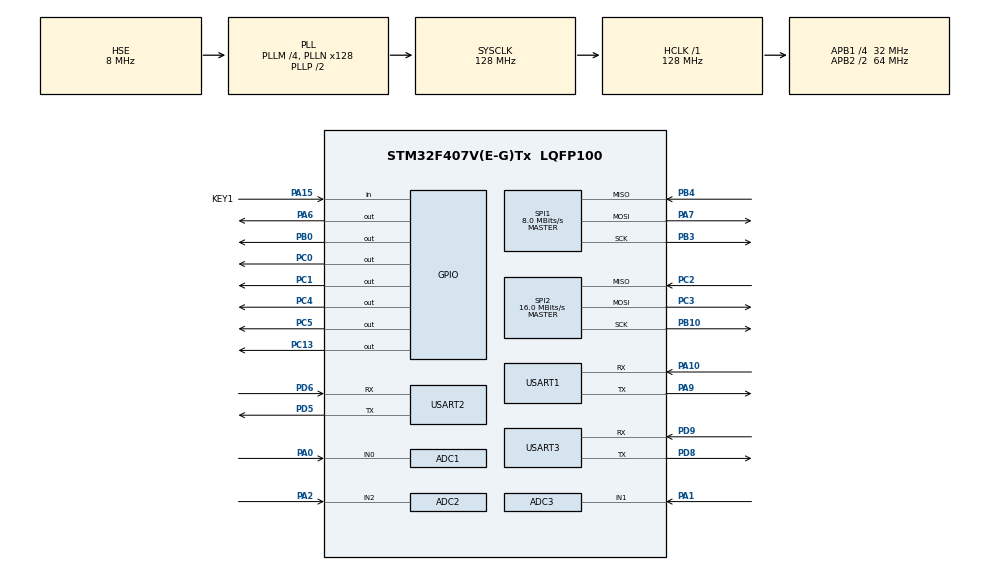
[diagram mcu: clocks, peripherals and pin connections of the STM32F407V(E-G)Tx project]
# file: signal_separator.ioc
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ADC1.Channel-0\#ChannelRegularConversion=ADC_CHANNEL_0
ADC1.ExternalTrigConv=ADC_EXTERNALTRIGCONV_T1_CC1
ADC1.NbrOfConversionFlag=1
ADC1.Rank-0\#ChannelRegularConversion=1
ADC1.SamplingTime-0\#ChannelRegularConversion=ADC_SAMPLETIME_3CYCLES
ADC1.master=1
ADC2.Channel-1\#ChannelRegularConversion=ADC_CHANNEL_2
ADC2.ExternalTrigConv=ADC_EXTERNALTRIGCONV_T1_CC1
ADC2.NbrOfConversionFlag=1
ADC2.Rank-1\#ChannelRegularConversion=1
ADC2.SamplingTime-1\#ChannelRegularConversion=ADC_SAMPLETIME_3CYCLES
ADC3.Channel-0\#ChannelRegularConversion=ADC_CHANNEL_1
ADC3.ExternalTrigConv=ADC_EXTERNALTRIGCONV_T1_CC1
ADC3.NbrOfConversionFlag=1
ADC3.Rank-0\#ChannelRegularConversion=1
ADC3.SamplingTime-0\#ChannelRegularConversion=ADC_SAMPLETIME_3CYCLES
Dma.ADC1.0.Direction=DMA_PERIPH_TO_MEMORY
Dma.ADC1.0.FIFOMode=DMA_FIFOMODE_DISABLE
Dma.ADC1.0.Instance=DMA2_Stream0
Dma.ADC1.0.MemDataAlignment=DMA_MDATAALIGN_HALFWORD
Dma.ADC1.0.MemInc=DMA_MINC_ENABLE
Dma.ADC1.0.Mode=DMA_NORMAL
Dma.ADC1.0.PeriphDataAlignment=DMA_PDATAALIGN_HALFWORD
Dma.ADC1.0.PeriphInc=DMA_PINC_DISABLE
Dma.ADC1.0.Priority=DMA_PRIORITY_LOW
Dma.ADC2.2.Direction=DMA_PERIPH_TO_MEMORY
Dma.ADC2.2.FIFOMode=DMA_FIFOMODE_DISABLE
Dma.ADC2.2.Instance=DMA2_Stream2
Dma.ADC2.2.MemDataAlignment=DMA_MDATAALIGN_HALFWORD
Dma.ADC2.2.MemInc=DMA_MINC_ENABLE
Dma.ADC2.2.Mode=DMA_NORMAL
Dma.ADC2.2.PeriphDataAlignment=DMA_PDATAALIGN_HALFWORD
Dma.ADC2.2.PeriphInc=DMA_PINC_DISABLE
Dma.ADC2.2.Priority=DMA_PRIORITY_LOW
Dma.ADC3.1.Direction=DMA_PERIPH_TO_MEMORY
Dma.ADC3.1.FIFOMode=DMA_FIFOMODE_DISABLE
Dma.ADC3.1.Instance=DMA2_Stream1
Dma.ADC3.1.MemDataAlignment=DMA_MDATAALIGN_HALFWORD
Dma.ADC3.1.MemInc=DMA_MINC_ENABLE
Dma.ADC3.1.Mode=DMA_NORMAL
Dma.ADC3.1.PeriphDataAlignment=DMA_PDATAALIGN_HALFWORD
Dma.ADC3.1.PeriphInc=DMA_PINC_DISABLE
Dma.ADC3.1.Priority=DMA_PRIORITY_LOW
Dma.Request0=ADC1
Dma.Request1=ADC3
Dma.Request2=ADC2
Dma.Request3=USART3_RX
Dma.Request4=USART2_RX
Dma.USART2_RX.4.Direction=DMA_PERIPH_TO_MEMORY
Dma.USART2_RX.4.FIFOMode=DMA_FIFOMODE_DISABLE
Dma.USART2_RX.4.Instance=DMA1_Stream5
Dma.USART2_RX.4.MemDataAlignment=DMA_MDATAALIGN_BYTE
Dma.USART2_RX.4.MemInc=DMA_MINC_ENABLE
Dma.USART2_RX.4.Mode=DMA_NORMAL
Dma.USART2_RX.4.PeriphDataAlignment=DMA_PDATAALIGN_BYTE
Dma.USART2_RX.4.PeriphInc=DMA_PINC_DISABLE
Dma.USART2_RX.4.Priority=DMA_PRIORITY_LOW
Dma.USART3_RX.3.Direction=DMA_PERIPH_TO_MEMORY
Dma.USART3_RX.3.FIFOMode=DMA_FIFOMODE_DISABLE
Dma.USART3_RX.3.Instance=DMA1_Stream1
Dma.USART3_RX.3.MemDataAlignment=DMA_MDATAALIGN_BYTE
Dma.USART3_RX.3.MemInc=DMA_MINC_ENABLE
Dma.USART3_RX.3.Mode=DMA_NORMAL
Dma.USART3_RX.3.PeriphDataAlignment=DMA_PDATAALIGN_BYTE
Dma.USART3_RX.3.PeriphInc=DMA_PINC_DISABLE
Dma.USART3_RX.3.Priority=DMA_PRIORITY_LOW
Mcu.Family=STM32F4
Mcu.Name=STM32F407V(E-G)Tx
Mcu.Package=LQFP100
NVIC.DMA1_Stream1_IRQn=true\:0\:0\:false\:false\:true\:false\:true\:true
NVIC.DMA1_Stream5_IRQn=true\:0\:0\:false\:false\:true\:false\:true\:true
NVIC.DMA2_Stream0_IRQn=true\:0\:0\:false\:false\:true\:false\:true\:true
NVIC.DMA2_Stream1_IRQn=true\:0\:0\:false\:false\:true\:false\:true\:true
NVIC.DMA2_Stream2_IRQn=true\:0\:0\:false\:false\:true\:false\:true\:true
NVIC.PriorityGroup=NVIC_PRIORITYGROUP_4
NVIC.USART2_IRQn=true\:0\:0\:false\:false\:true\:true\:true\:true
NVIC.USART3_IRQn=true\:0\:0\:false\:false\:true\:true\:true\:true
PA0-WKUP.Signal=ADCx_IN0
PA1.Signal=ADCx_IN1
PA10.Mode=Asynchronous
PA10.Signal=USART1_RX
PA13.Mode=Serial_Wire
PA13.Signal=SYS_JTMS-SWDIO
PA14.Mode=Serial_Wire
PA14.Signal=SYS_JTCK-SWCLK
PA15.GPIO_Label=KEY1
PA15.GPIO_PuPd=GPIO_PULLUP
PA15.Signal=GPIO_Input
PA2.Signal=ADCx_IN2
PA6.Signal=GPIO_Output
PA7.Mode=Full_Duplex_Master
PA7.Signal=SPI1_MOSI
PA9.Mode=Asynchronous
PA9.Signal=USART1_TX
PB0.Signal=GPIO_Output
PB10.Mode=Full_Duplex_Master
PB10.Signal=SPI2_SCK
PB3.Mode=Full_Duplex_Master
PB3.Signal=SPI1_SCK
PB4.Mode=Full_Duplex_Master
PB4.Signal=SPI1_MISO
PC0.Signal=GPIO_Output
PC1.Signal=GPIO_Output
PC13-ANTI_TAMP.Signal=GPIO_Output
PC2.Mode=Full_Duplex_Master
PC2.Signal=SPI2_MISO
PC3.Mode=Full_Duplex_Master
PC3.Signal=SPI2_MOSI
PC4.Signal=GPIO_Output
PC5.Signal=GPIO_Output
PD5.Mode=Asynchronous
PD5.Signal=USART2_TX
PD6.Mode=Asynchronous
PD6.Signal=USART2_RX
PD8.Mode=Asynchronous
PD8.Signal=USART3_TX
PD9.Mode=Asynchronous
PD9.Signal=USART3_RX
PH0-OSC_IN.Mode=HSE-External-Oscillator
PH0-OSC_IN.Signal=RCC_OSC_IN
PH1-OSC_OUT.Mode=HSE-External-Oscillator
PH1-OSC_OUT.Signal=RCC_OSC_OUT
ProjectManager.HeapSize=0x200
ProjectManager.StackSize=0x400
ProjectManager.TargetToolchain=MDK-ARM V5.32
RCC.48MHZClocksFreq_Value=36571428.571428575
RCC.AHBFreq_Value=128000000
RCC.APB1CLKDivider=RCC_HCLK_DIV4
RCC.APB1Freq_Value=32000000
RCC.APB1TimFreq_Value=64000000
RCC.APB2CLKDivider=RCC_HCLK_DIV2
RCC.APB2Freq_Value=64000000
RCC.APB2TimFreq_Value=128000000
RCC.CortexFreq_Value=128000000
RCC.HCLKFreq_Value=128000000
RCC.HSE_VALUE=8000000
RCC.HSI_VALUE=16000000
RCC.LSE_VALUE=32768
RCC.PLLM=4
RCC.PLLN=128
RCC.PLLQ=7
RCC.PLLSourceVirtual=RCC_PLLSOURCE_HSE
RCC.SYSCLKFreq_VALUE=128000000
RCC.SYSCLKSource=RCC_SYSCLKSOURCE_PLLCLK
RCC.VCOOutputFreq_Value=256000000
SH.ADCx_IN0.0=ADC1_IN0,IN0
SH.ADCx_IN1.0=ADC3_IN1,IN1
SH.ADCx_IN2.0=ADC2_IN2,IN2
SPI1.BaudRatePrescaler=SPI_BAUDRATEPRESCALER_8
SPI1.CLKPolarity=SPI_POLARITY_HIGH
SPI1.CalculateBaudRate=8.0 MBits/s
SPI1.Direction=SPI_DIRECTION_2LINES
SPI1.Mode=SPI_MODE_MASTER
SPI1.VirtualType=VM_MASTER
SPI2.CLKPolarity=SPI_POLARITY_HIGH
SPI2.CalculateBaudRate=16.0 MBits/s
SPI2.Direction=SPI_DIRECTION_2LINES
SPI2.Mode=SPI_MODE_MASTER
SPI2.VirtualType=VM_MASTER
STMicroelectronics.X-CUBE-ALGOBUILD.1.3.0.LibraryCcDSPOoLibraryJjDSPOoLibrary=true
TIM1.AutoReloadPreload=TIM_AUTORELOAD_PRELOAD_ENABLE
TIM1.Channel-PWM\ Generation1\ No\ Output=TIM_CHANNEL_1
TIM1.Period=125-1
TIM1.Prescaler=1-1
TIM1.Pulse-PWM\ Generation1\ No\ Output=250-1
TIM2.Period=10000000-1
TIM2.Prescaler=64-1
USART1.VirtualMode=VM_ASYNC
USART2.VirtualMode=VM_ASYNC
USART3.VirtualMode=VM_ASYNC
VP_STMicroelectronics.X-CUBE-ALGOBUILD_VS_DSPOoLibraryJjLibrary_1.3.0_1.3.0.Mode=DSPOoLibraryJjLibrary
VP_TIM1_VS_ClockSourceINT.Mode=Internal
VP_TIM1_VS_no_output1.Mode=PWM Generation1 No Output
VP_TIM2_VS_ClockSourceINT.Mode=Internal
board=custom

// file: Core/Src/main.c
/* USER CODE BEGIN Header */
/*
 * @Author: wzccccccc
 * @Date: 2023-08-02 09:07:59
 * @LastEditors: wzccccccc wu854065020@gmail.com
 * @LastEditTime: 2024-04-01 14:32:55
 * @FilePath: \signal_separator\Core\Src\main.c
 */
/**
  ******************************************************************************
  * @file           : main.c
  * @brief          : Main program body
  ******************************************************************************
  * @attention
  *
  * Copyright (c) 2023 STMicroelectronics.
  * All rights reserved.
  *
  * This software is licensed under terms that can be found in the LICENSE file
  * in the root directory of this software component.
  * If no LICENSE file comes with this software, it is provided AS-IS.
  *
  ******************************************************************************
  */
/* USER CODE END Header */
#include "main.h"
#include "adc.h"
#include "dma.h"
#include "spi.h"
#include "tim.h"
#include "usart.h"
#include "gpio.h"

/* USER CODE BEGIN Includes */
#include <string.h>
#include <stdio.h>
#include "sample.h"
#include "myfft.h"
#include "ad9833.h"
#include "ui_control.h"
#include "save_data.h"
/* USER CODE END Includes */

/* USER CODE BEGIN PV */
// uint8_t g_cmdToTest = 0;
AD9833_Handler ad9833Channel1;
AD9833_Handler ad9833Channel2;
// 以下变量是测试变量无需在意
uint8_t g_testAuto = 0;
float g_mainTestFreq1 = 80000.0f;
float g_mainTestFreq2 = 100000.0f;
extern float g_freqOffsetRatio[];
SaveData savaTest = {0};
/* USER CODE END PV */

void SystemClock_Config(void);

int main(void)
{

  /* MCU Configuration--------------------------------------------------------*/

  /* Reset of all peripherals, Initializes the Flash interface and the Systick. */
  HAL_Init();

  /* Configure the system clock */
  SystemClock_Config();

  /* Initialize all configured peripherals */
  MX_GPIO_Init();
  MX_DMA_Init();
  MX_ADC1_Init();
  MX_TIM1_Init();
  MX_USART1_UART_Init();
  MX_ADC2_Init();
  MX_ADC3_Init();
  MX_TIM2_Init();
  MX_SPI1_Init();
  MX_SPI2_Init();
  MX_USART3_UART_Init();
  MX_USART2_UART_Init();
  /* USER CODE BEGIN 2 */
  MyFFTInit();
  __HAL_UART_ENABLE_IT(&huart3, UART_IT_IDLE);
  uiControlInit();
  sampleInit();
  AD9833_Init(&ad9833Channel1, wave_sine, 100000, 0, &hspi1, GPIOA, GPIO_PIN_6);
  AD9833_Init(&ad9833Channel2, wave_sine, 100000, 0, &hspi2, GPIOC, GPIO_PIN_4);
  // autoGetFreqOffsetStart();
  /* USER CODE END 2 */

  /* Infinite loop */
  /* USER CODE BEGIN WHILE */
  while (1)
  {
    // autoGetFreqOffset();
    // if (g_testAuto) {
    //   AD9833_SetFrequency(&ad9833Channel1, g_mainTestFreq1 + g_mainTestFreq1 * g_freqOffsetRatio[0]);
    //   AD9833_SetFrequency(&ad9833Channel2, g_mainTestFreq2 + g_mainTestFreq2 * g_freqOffsetRatio[1]);
    //   HAL_Delay(1000);
    // }
    sampleLoop(); // 状态机循环函数
//    AD9833_SetFrequency(&ad9833Channel1, g_testFreq);
//    // AD9833_SetFrequency(&ad9833Channel2, g_testFreq);
//    HAL_Delay(1000);
    /* USER CODE END WHILE */

  }
}

void SystemClock_Config(void)
{
  RCC_OscInitTypeDef RCC_OscInitStruct = {0};
  RCC_ClkInitTypeDef RCC_ClkInitStruct = {0};

  /** Configure the main internal regulator output voltage
  */
  __HAL_RCC_PWR_CLK_ENABLE();
  __HAL_PWR_VOLTAGESCALING_CONFIG(PWR_REGULATOR_VOLTAGE_SCALE1);

  /** Initializes the RCC Oscillators according to the specified parameters
  * in the RCC_OscInitTypeDef structure.
  */
  RCC_OscInitStruct.OscillatorType = RCC_OSCILLATORTYPE_HSE;
  RCC_OscInitStruct.HSEState = RCC_HSE_ON;
  RCC_OscInitStruct.PLL.PLLState = RCC_PLL_ON;
  RCC_OscInitStruct.PLL.PLLSource = RCC_PLLSOURCE_HSE;
  RCC_OscInitStruct.PLL.PLLM = 4;
  RCC_OscInitStruct.PLL.PLLN = 128;
  RCC_OscInitStruct.PLL.PLLP = RCC_PLLP_DIV2;
  RCC_OscInitStruct.PLL.PLLQ = 7;
  if (HAL_RCC_OscConfig(&RCC_OscInitStruct) != HAL_OK)
  {
    Error_Handler();
  }

  /** Initializes the CPU, AHB and APB buses clocks
  */
  RCC_ClkInitStruct.ClockType = RCC_CLOCKTYPE_HCLK|RCC_CLOCKTYPE_SYSCLK
                              |RCC_CLOCKTYPE_PCLK1|RCC_CLOCKTYPE_PCLK2;
  RCC_ClkInitStruct.SYSCLKSource = RCC_SYSCLKSOURCE_PLLCLK;
  RCC_ClkInitStruct.AHBCLKDivider = RCC_SYSCLK_DIV1;
  RCC_ClkInitStruct.APB1CLKDivider = RCC_HCLK_DIV4;
  RCC_ClkInitStruct.APB2CLKDivider = RCC_HCLK_DIV2;

  if (HAL_RCC_ClockConfig(&RCC_ClkInitStruct, FLASH_LATENCY_4) != HAL_OK)
  {
    Error_Handler();
  }
}

/* USER CODE BEGIN 4 */
/* retarget the C library printf function to the USART */
int fputc(int ch, FILE *f)
{
    HAL_UART_Transmit(&huart1, (uint8_t *)&ch, 1, 0xFFFF);
    return ch;
}
/* USER CODE END 4 */

void Error_Handler(void)
{
  __disable_irq();
  while (1)
  {
  }
}
